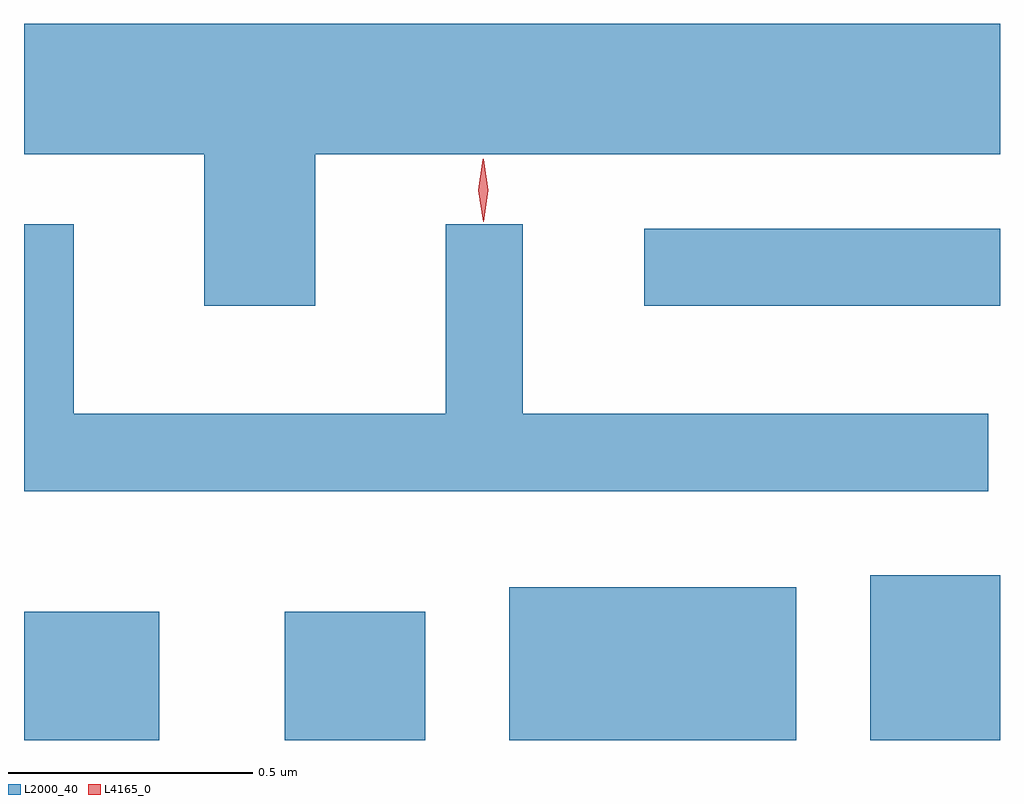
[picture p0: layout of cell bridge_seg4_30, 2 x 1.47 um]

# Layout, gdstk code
import gdstk
lib = gdstk.Library(unit=1e-6, precision=1e-09)
def R(c, l, rs):  # rectangles x0, y0, x1, y1
    for r in rs: c.add(gdstk.rectangle(r[:2], r[2:], *l))
def P(c, l, *ps):  # polygons
    for p in ps: c.add(gdstk.Polygon(p, *l))
L2000_40 = (2000, 40)
L4165_0 = (4165, 0)

bridge_seg4_30 = lib.new_cell('bridge_seg4_30')
R(bridge_seg4_30, L2000_40, [(1168.532,1277.995,1168.809,1278.259), (1169.066,1277.995,1169.354,1278.259), (1169.526,1277.995,1170.114,1278.309), (1170.266,1277.995,1170.532,1278.334), (1169.803,1278.886,1170.532,1279.044)])
P(bridge_seg4_30, L2000_40, [(1169.129,1279.196),(1170.532,1279.196),(1170.532,1279.464),(1168.532,1279.464),(1168.532,1279.196),(1168.901,1279.196),(1168.901,1278.886),(1169.129,1278.886)],
  [(1170.508,1278.664),(1169.554,1278.664),(1169.554,1279.053),(1169.396,1279.053),(1169.396,1278.664),(1168.634,1278.664),(1168.634,1279.053),(1168.532,1279.053),(1168.532,1278.506),(1170.508,1278.506)])
P(bridge_seg4_30, L4165_0, [(1169.473,1279.058),(1169.473,1279.058),(1169.463,1279.122),(1169.472,1279.186),(1169.473,1279.187),(1169.474,1279.186),(1169.483,1279.122),(1169.474,1279.058)])

lib.write_gds('bridge_seg4_30.gds')
